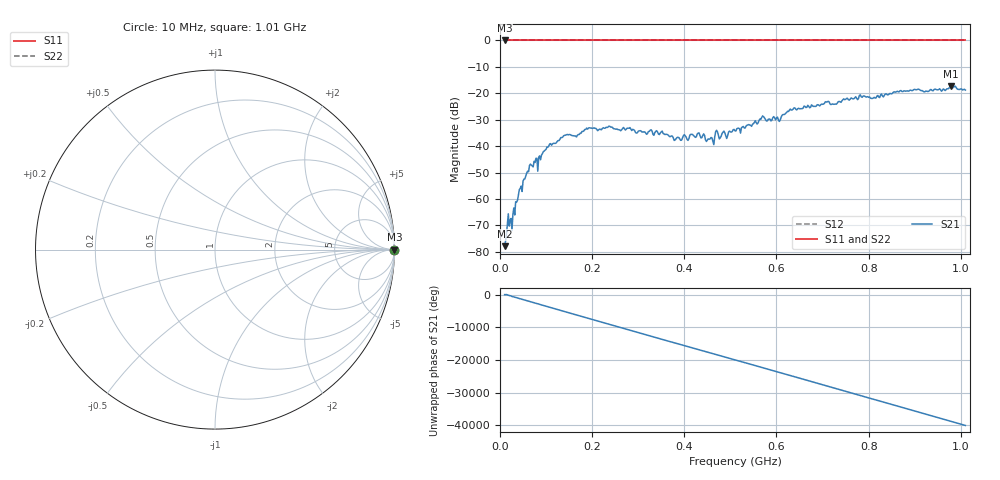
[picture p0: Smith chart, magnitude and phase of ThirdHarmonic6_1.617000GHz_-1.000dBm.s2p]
! 8/16/2025 7:18:32 PM
! C:\ANRITSUVNA\TEMP\TEMP.S2P
! CHANNEL.1
! TR.MEASUREMENT
! RAW.DATA
! RF.CORRECTION.OFF
! AVERAGING.OFF
! IF.BANDWIDTH: 5KHZ
! SWEEPTYPE:  FREQ.SWEEP(Linear)
! Reference Plane Port Info
! PORT:  PORT1  PORT2
! DISTANCE:  0  m  0  m
! TIME:  0  s  0  s
! PHASE.OFFSET:  0  deg.  0  deg.
! LOSS:  0  dB  0  dB
! REF.LOSS:  0  dB  0  dB
! REF.FREQ:  0  Hz  0  Hz
! Power Info
! POWER:  -20  dBm  -20  dBm
! EFF.POWER:  -20  dBm  -20  dBm
! SOURCE.ATTEN:  0  dB  0  dB
! TEST.ATTEN:  0  dB  0  dB
# GHZ S RI R 50.0
! FREQ.GHZ  S11RE  S11IM  S21RE  S21IM  S12RE  S12IM  S22RE  S22IM
!; PortSelection: Port_12
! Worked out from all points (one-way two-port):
!   501 points, 10 MHz to 1.01 GHz, reference 50 ohm
!   highest |S21| = -17.27 dB at 978 MHz (marker M1); lowest = -77.9 dB at 10 MHz (marker M2)
!   lowest |S11| = 0.0 dB at 10 MHz (marker M3)
!   |S11| at or under -10 dB: nowhere
!   |S22| runs from 0.0 to 0.0 dB; largest |S21 - S12| = 1.1
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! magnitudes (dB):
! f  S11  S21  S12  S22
! 10 MHz  0.0  -77.9  0.0  0.0
! 20 MHz  0.0  -70.3  0.0  0.0
! 28 MHz  0.0  -65.8  0.0  0.0
! 42 MHz  0.0  -56.5  0.0  0.0
! 64 MHz  0.0  -47.3  0.0  0.0
! 86 MHz  0.0  -43.7  0.0  0.0
! 106 MHz  0.0  -39.9  0.0  0.0
! 178 MHz  0.0  -34.4  0.0  0.0
! 238 MHz  0.0  -32.5  0.0  0.0
! 344 MHz  0.0  -35.4  0.0  0.0
! 380 MHz  0.0  -37.7  0.0  0.0
! 430 MHz  0.0  -35.1  0.0  0.0
! 460 MHz  0.0  -36.9  0.0  0.0
! 470 MHz  0.0  -34.0  0.0  0.0
! 510 MHz  0.0  -34.2  0.0  0.0
! 568 MHz  0.0  -29.1  0.0  0.0
! 606 MHz  0.0  -30.7  0.0  0.0
! 634 MHz  0.0  -26.3  0.0  0.0
! 678 MHz  0.0  -24.7  0.0  0.0
! 844 MHz  0.0  -20.4  0.0  0.0
! 978 MHz  0.0  -17.3  0.0  0.0
! 1.01 GHz  0.0  -18.8  0.0  0.0
